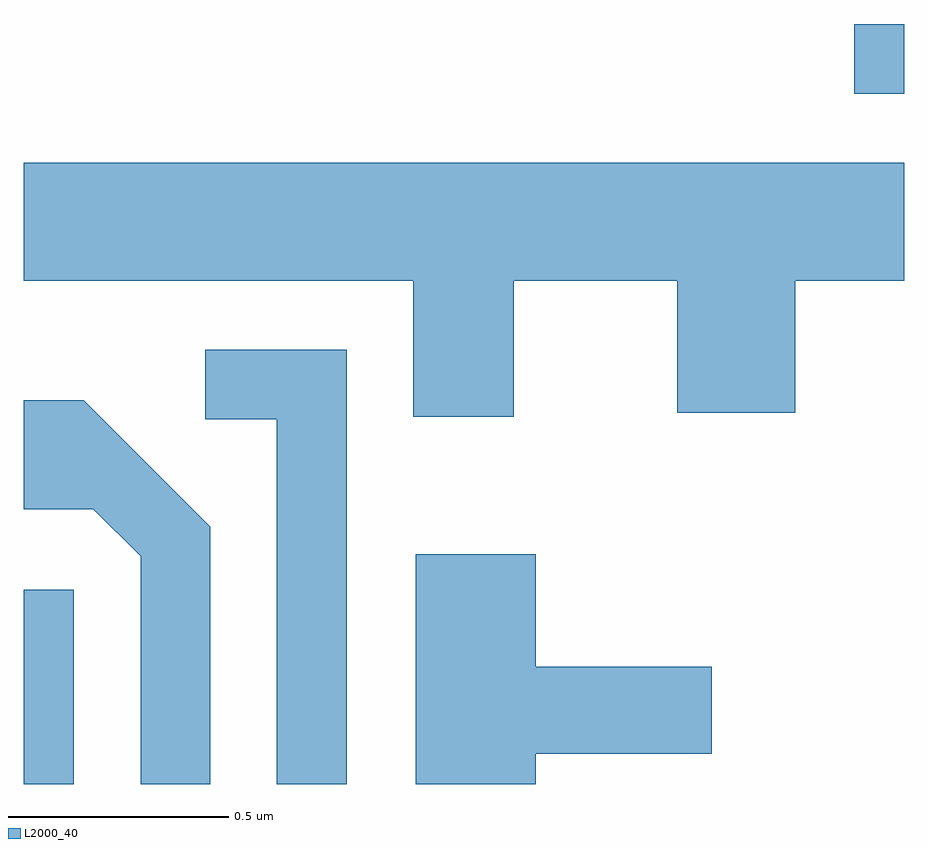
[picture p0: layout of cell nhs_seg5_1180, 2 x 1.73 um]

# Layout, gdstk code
import gdstk
lib = gdstk.Library(unit=1e-6, precision=1e-09)
def R(c, l, rs):  # rectangles x0, y0, x1, y1
    for r in rs: c.add(gdstk.rectangle(r[:2], r[2:], *l))
def P(c, l, *ps):  # polygons
    for p in ps: c.add(gdstk.Polygon(p, *l))
L2000_40 = (2000, 40)

nhs_seg5_1180 = lib.new_cell('nhs_seg5_1180')
R(nhs_seg5_1180, L2000_40, [(193.611,1480.072,193.724,1480.513), (195.498,1481.641,195.611,1481.799)])
P(nhs_seg5_1180, L2000_40, [(194.724,1481.216),(195.096,1481.216),(195.096,1480.916),(195.364,1480.916),(195.364,1481.216),(195.611,1481.216),(195.611,1481.484),(193.611,1481.484),(193.611,1481.216),(194.496,1481.216),(194.496,1480.906),(194.724,1480.906)],
  [(194.344,1481.059),(194.023,1481.059),(194.023,1480.901),(194.186,1480.901),(194.186,1480.072),(194.344,1480.072)],
  [(194.034,1480.657),(193.747,1480.944),(193.611,1480.944),(193.611,1480.696),(193.769,1480.696),(193.876,1480.589),(193.876,1480.072),(194.034,1480.072)],
  [(194.774,1480.141),(195.174,1480.141),(195.174,1480.339),(194.774,1480.339),(194.774,1480.594),(194.501,1480.594),(194.501,1480.072),(194.774,1480.072)])

lib.write_gds('nhs_seg5_1180.gds')
